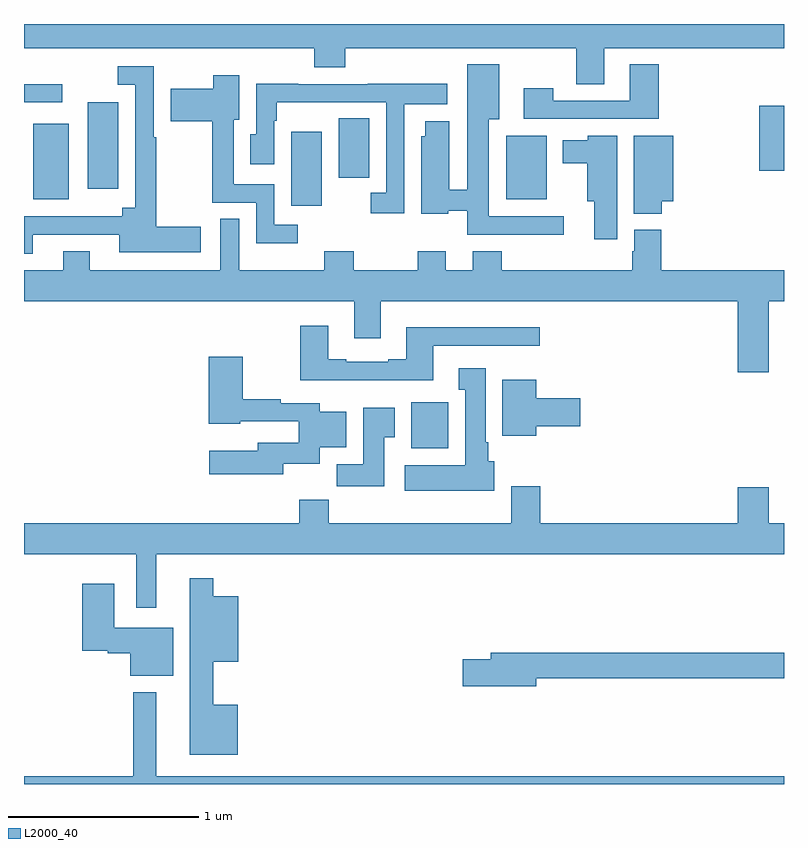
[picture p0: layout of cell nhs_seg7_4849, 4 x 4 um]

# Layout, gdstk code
import gdstk
lib = gdstk.Library(unit=1e-6, precision=1e-09)
def R(c, l, rs):  # rectangles x0, y0, x1, y1
    for r in rs: c.add(gdstk.rectangle(r[:2], r[2:], *l))
def P(c, l, *ps):  # polygons
    for p in ps: c.add(gdstk.Polygon(p, *l))
L2000_40 = (2000, 40)

nhs_seg7_4849 = lib.new_cell('nhs_seg7_4849')
R(nhs_seg7_4849, L2000_40, [(415.037,1075.766,415.234,1076.008), (414.407,1077.044,414.568,1077.433), (413.048,1077.077,413.236,1077.475), (415.538,1077.077,415.75,1077.412), (413.336,1077.132,413.497,1077.589), (414.656,1077.192,414.817,1077.503), (416.87,1077.227,417,1077.571), (413,1077.588,413.2,1077.684)])
P(nhs_seg7_4849, L2000_40, [(416.053,1077.872),(417,1077.872),(417,1078),(413,1078),(413,1077.872),(414.527,1077.872),(414.527,1077.773),(414.692,1077.773),(414.692,1077.872),(415.906,1077.872),(415.906,1077.682),(416.053,1077.682)],
  [(415.84,1076.988),(415.447,1076.988),(415.447,1077.5),(415.501,1077.5),(415.501,1077.787),(415.334,1077.787),(415.334,1077.127),(415.237,1077.127),(415.237,1077.487),(415.112,1077.487),(415.112,1077.408),(415.091,1077.408),(415.091,1077.002),(415.233,1077.002),(415.233,1077.017),(415.334,1077.017),(415.334,1076.891),(415.84,1076.891)],
  [(416.342,1077.787),(416.189,1077.787),(416.189,1077.597),(415.785,1077.597),(415.785,1077.661),(415.629,1077.661),(415.629,1077.501),(416.342,1077.501)],
  [(413.047,1076.892),(413.501,1076.892),(413.501,1076.798),(413.929,1076.798),(413.929,1076.933),(413.695,1076.933),(413.695,1077.404),(413.682,1077.404),(413.682,1077.777),(413.493,1077.777),(413.493,1077.681),(413.586,1077.681),(413.586,1077.034),(413.516,1077.034),(413.516,1076.988),(413,1076.988),(413,1076.79),(413.047,1076.79)],
  [(414.442,1076.943),(414.318,1076.943),(414.318,1077.156),(414.103,1077.156),(414.103,1077.497),(414.133,1077.497),(414.133,1077.73),(413.995,1077.73),(413.995,1077.658),(413.772,1077.658),(413.772,1077.488),(413.992,1077.488),(413.992,1077.06),(414.222,1077.06),(414.222,1076.846),(414.442,1076.846)],
  [(415.002,1077.578),(415.228,1077.578),(415.228,1077.686),(414.809,1077.686),(414.809,1077.684),(414.443,1077.684),(414.443,1077.686),(414.222,1077.686),(414.222,1077.42),(414.191,1077.42),(414.191,1077.261),(414.318,1077.261),(414.318,1077.491),(414.331,1077.491),(414.331,1077.587),(414.56,1077.587),(414.56,1077.588),(414.906,1077.588),(414.906,1077.111),(414.825,1077.111),(414.825,1077.003),(415.002,1077.003)],
  [(416.357,1077.068),(416.416,1077.068),(416.416,1077.412),(416.21,1077.412),(416.21,1077.001),(416.357,1077.001)],
  [(416.122,1077.412),(415.968,1077.412),(415.968,1077.388),(415.835,1077.388),(415.835,1077.266),(415.964,1077.266),(415.964,1077.068),(416,1077.068),(416,1076.868),(416.122,1076.868)],
  [(416.92,1076.54),(417,1076.54),(417,1076.704),(416.354,1076.704),(416.354,1076.916),(416.213,1076.916),(416.213,1076.805),(416.201,1076.805),(416.201,1076.704),(415.514,1076.704),(415.514,1076.803),(415.361,1076.803),(415.361,1076.704),(415.219,1076.704),(415.219,1076.803),(415.072,1076.803),(415.072,1076.704),(414.735,1076.704),(414.735,1076.803),(414.58,1076.803),(414.58,1076.704),(414.133,1076.704),(414.133,1076.975),(414.032,1076.975),(414.032,1076.704),(413.347,1076.704),(413.347,1076.803),(413.207,1076.803),(413.207,1076.704),(413,1076.704),(413,1076.54),(414.737,1076.54),(414.737,1076.346),(414.877,1076.346),(414.877,1076.54),(416.756,1076.54),(416.756,1076.166),(416.92,1076.166)],
  [(415.153,1076.307),(415.714,1076.307),(415.714,1076.404),(415.013,1076.404),(415.013,1076.236),(414.917,1076.236),(414.917,1076.223),(414.697,1076.223),(414.697,1076.236),(414.601,1076.236),(414.601,1076.413),(414.454,1076.413),(414.454,1076.126),(415.153,1076.126)],
  [(414.364,1075.685),(414.556,1075.685),(414.556,1075.772),(414.697,1075.772),(414.697,1075.96),(414.556,1075.96),(414.556,1076.004),(414.35,1076.004),(414.35,1076.024),(414.15,1076.024),(414.15,1076.248),(413.972,1076.248),(413.972,1075.895),(414.138,1075.895),(414.138,1075.908),(414.446,1075.908),(414.446,1075.795),(414.23,1075.795),(414.23,1075.753),(413.976,1075.753),(413.976,1075.631),(414.364,1075.631)],
  [(415.474,1075.698),(415.444,1075.698),(415.444,1075.798),(415.429,1075.798),(415.429,1076.188),(415.289,1076.188),(415.289,1076.075),(415.322,1076.075),(415.322,1075.678),(415.005,1075.678),(415.005,1075.544),(415.474,1075.544)],
  [(415.696,1075.883),(415.927,1075.883),(415.927,1076.03),(415.696,1076.03),(415.696,1076.128),(415.517,1076.128),(415.517,1075.832),(415.696,1075.832)],
  [(414.895,1075.825),(414.952,1075.825),(414.952,1075.981),(414.785,1075.981),(414.785,1075.684),(414.646,1075.684),(414.646,1075.566),(414.895,1075.566)],
  [(413.695,1075.208),(417,1075.208),(417,1075.372),(416.92,1075.372),(416.92,1075.561),(416.756,1075.561),(416.756,1075.372),(415.718,1075.372),(415.718,1075.567),(415.565,1075.567),(415.565,1075.372),(414.605,1075.372),(414.605,1075.496),(414.449,1075.496),(414.449,1075.372),(413,1075.372),(413,1075.208),(413.591,1075.208),(413.591,1074.927),(413.695,1074.927)],
  [(414.124,1074.418),(413.995,1074.418),(413.995,1074.644),(414.127,1074.644),(414.127,1074.988),(413.995,1074.988),(413.995,1075.084),(413.873,1075.084),(413.873,1074.155),(414.124,1074.155)],
  [(413.785,1074.823),(413.476,1074.823),(413.476,1075.054),(413.306,1075.054),(413.306,1074.701),(413.442,1074.701),(413.442,1074.689),(413.558,1074.689),(413.558,1074.569),(413.785,1074.569)],
  [(415.696,1074.556),(417,1074.556),(417,1074.692),(415.457,1074.692),(415.457,1074.656),(415.308,1074.656),(415.308,1074.514),(415.696,1074.514)],
  [(417,1074.04),(413.695,1074.04),(413.695,1074.484),(413.574,1074.484),(413.574,1074.04),(413,1074.04),(413,1074),(417,1074)])

lib.write_gds('nhs_seg7_4849.gds')
